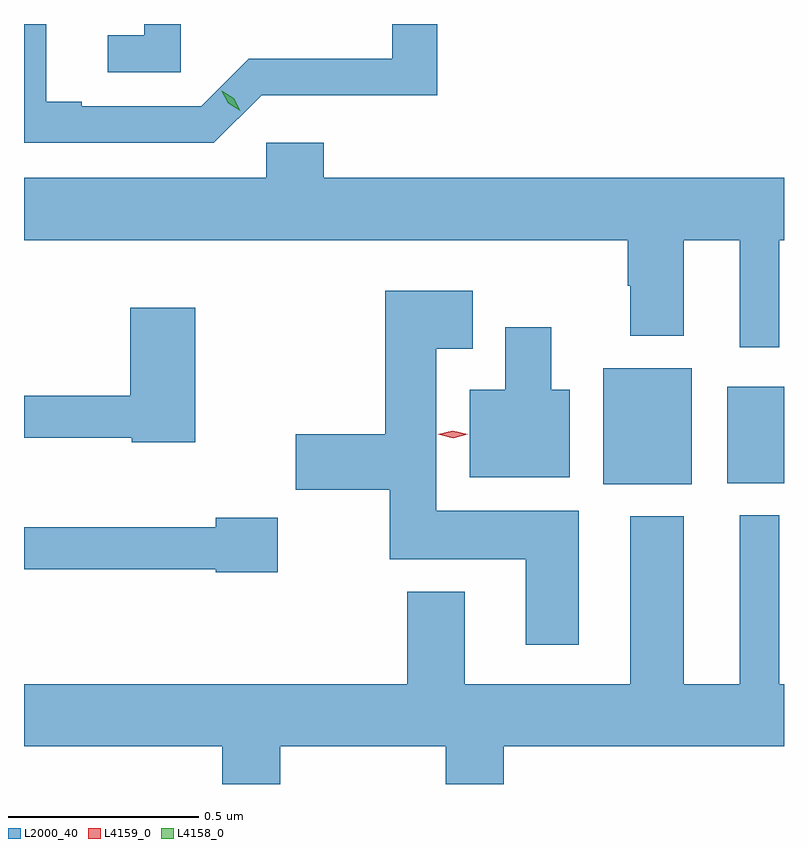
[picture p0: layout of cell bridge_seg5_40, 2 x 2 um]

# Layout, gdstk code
import gdstk
lib = gdstk.Library(unit=1e-6, precision=1e-09)
def R(c, l, rs):  # rectangles x0, y0, x1, y1
    for r in rs: c.add(gdstk.rectangle(r[:2], r[2:], *l))
def P(c, l, *ps):  # polygons
    for p in ps: c.add(gdstk.Polygon(p, *l))
L2000_40 = (2000, 40)
L4158_0 = (4158, 0)
L4159_0 = (4159, 0)

bridge_seg5_40 = lib.new_cell('bridge_seg5_40')
R(bridge_seg5_40, L2000_40, [(749.783,840.134,750.016,840.439), (750.11,840.137,750.259,840.391)])
P(bridge_seg5_40, L2000_40, [(748.671,841.345),(748.575,841.345),(748.575,841.315),(748.479,841.315),(748.479,841.218),(748.671,841.218)],
  [(748.884,841.158),(749.106,841.158),(749.106,841.157),(749.347,841.157),(749.347,841.345),(749.228,841.345),(749.228,841.254),(748.851,841.254),(748.725,841.128),(748.411,841.128),(748.411,841.141),(748.317,841.141),(748.317,841.345),(748.259,841.345),(748.259,841.032),(748.758,841.032)],
  [(750.247,840.776),(750.259,840.776),(750.259,840.94),(749.048,840.94),(749.048,841.033),(748.896,841.033),(748.896,840.94),(748.259,840.94),(748.259,840.776),(749.848,840.776),(749.848,840.656),(749.855,840.656),(749.855,840.524),(749.995,840.524),(749.995,840.776),(750.143,840.776),(750.143,840.495),(750.247,840.495)],
  [(749.719,840.064),(749.344,840.064),(749.344,840.491),(749.44,840.491),(749.44,840.643),(749.21,840.643),(749.21,840.266),(748.974,840.266),(748.974,840.119),(749.222,840.119),(749.222,839.936),(749.579,839.936),(749.579,839.712),(749.719,839.712)],
  [(748.709,840.598),(748.538,840.598),(748.538,840.367),(748.259,840.367),(748.259,840.256),(748.542,840.256),(748.542,840.245),(748.709,840.245)],
  [(749.695,840.382),(749.647,840.382),(749.647,840.547),(749.525,840.547),(749.525,840.382),(749.432,840.382),(749.432,840.152),(749.695,840.152)],
  [(748.933,839.444),(749.369,839.444),(749.369,839.345),(749.522,839.345),(749.522,839.444),(750.259,839.444),(750.259,839.608),(750.247,839.608),(750.247,840.052),(750.143,840.052),(750.143,839.608),(749.995,839.608),(749.995,840.049),(749.855,840.049),(749.855,839.608),(749.419,839.608),(749.419,839.851),(749.267,839.851),(749.267,839.608),(748.259,839.608),(748.259,839.444),(748.781,839.444),(748.781,839.345),(748.933,839.345)],
  [(748.927,840.046),(748.764,840.046),(748.764,840.021),(748.259,840.021),(748.259,839.91),(748.764,839.91),(748.764,839.902),(748.927,839.902)])
P(bridge_seg5_40, L4158_0, [(748.828,841.117),(748.796,841.136),(748.779,841.168),(748.779,841.169),(748.78,841.169),(748.811,841.149),(748.828,841.117),(748.828,841.117)])
P(bridge_seg5_40, L4159_0, [(749.388,840.255),(749.348,840.265),(749.348,840.265),(749.348,840.265),(749.387,840.275),(749.427,840.266),(749.427,840.265),(749.427,840.265)])

lib.write_gds('bridge_seg5_40.gds')
